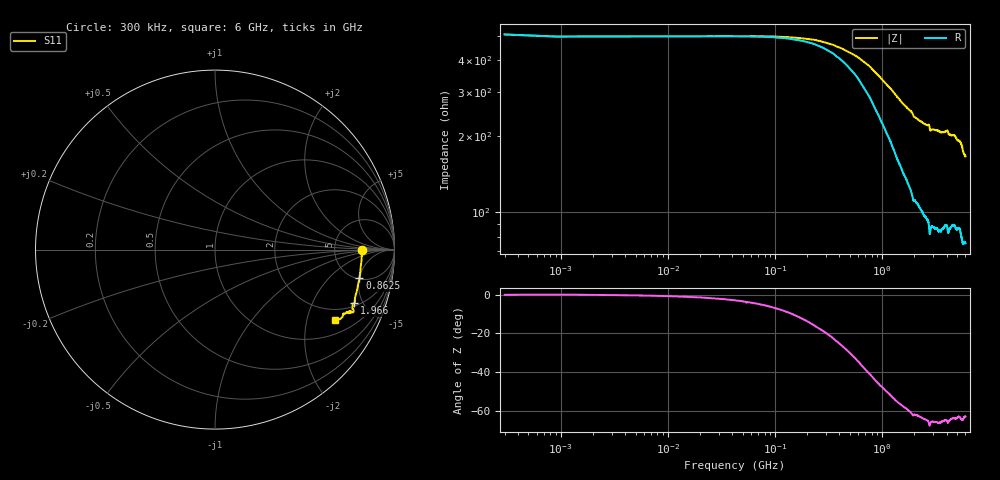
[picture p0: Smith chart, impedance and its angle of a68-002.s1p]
!  3/12/2021  05:59:06
! Ref Plane: 23.990 mm
# MHZ S MA R  50
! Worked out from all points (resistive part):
!   10001 points, 300 kHz to 6 GHz, reference 50 ohm
!   read as one part to ground: R = 499 ohm at 30.3 MHz
!   S11 on the Smith chart (normalised r, x): 300 kHz: 10, +0; 862.5 MHz: 5.15, -5.01; 1.966 GHz: 2.23, -4.27; 6 GHz: 1.51, -2.97
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0.3  0.8205 0.0
750.2625  0.8201 -9.8
862.4569  0.8201 -11.2
1094.045  0.8208 -13.7
1500.225  0.8234 -17.4
1911.804  0.8312 -20.3
1966.402  0.8299 -21.0
2250.188  0.8277 -22.1
2603.57  0.8318 -23.2
2700.765  0.836 -23.3
2757.762  0.8445 -23.7
2803.36  0.8395 -24.7
2855.557  0.8311 -24.6
3000.15  0.8315 -24.4
3528.124  0.8308 -25.0
3750.113  0.8255 -24.9
4027.299  0.8251 -24.5
4093.295  0.8315 -24.7
4168.892  0.8263 -25.4
4500.075  0.8136 -25.3
4658.467  0.8121 -25.3
4852.857  0.812 -25.7
5060.447  0.8028 -26.3
5250.038  0.8 -26.5
5547.623  0.8027 -27.9
5709.015  0.7938 -29.4
5803.21  0.784 -29.8
6000  0.7755 -30.4
